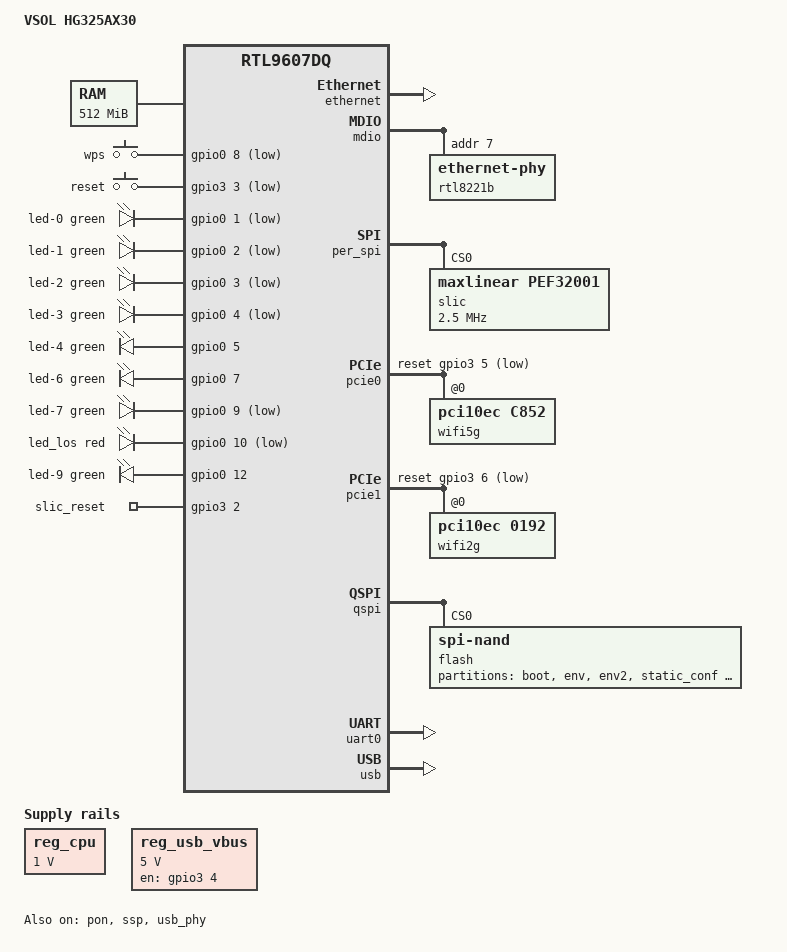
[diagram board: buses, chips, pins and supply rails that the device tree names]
// SPDX-License-Identifier: GPL-2.0-or-later OR MIT

/dts-v1/;

#include <dt-bindings/input/input.h>
#include <dt-bindings/leds/common.h>
#include <dt-bindings/thermal/thermal.h>

#include "rtl9607dq.dtsi"

/ {
	model = "VSOL HG325AX30";
	compatible = "vsol,hg325ax30", "realtek,rtl9607dq", "realtek,taurus";

	thermal-zones {
		/* passive: the vendor driver's TX throttle point, thermal code 0x33 */
		wifi5g-thermal {
			polling-delay-passive = <2000>;
			polling-delay = <10000>;
			thermal-sensors = <&wifi5g>;

			trips {
				wifi5g_passive: wifi5g-passive {
					temperature = <93000>;
					hysteresis = <7500>;
					type = "passive";
				};

				wifi5g-crit {
					temperature = <120000>;
					hysteresis = <2000>;
					type = "critical";
				};
			};

			cooling-maps {
				map0 {
					trip = <&wifi5g_passive>;
					cooling-device = <&wifi5g THERMAL_NO_LIMIT THERMAL_NO_LIMIT>;
				};
			};
		};

		wifi2g-thermal {
			polling-delay-passive = <2000>;
			polling-delay = <10000>;
			thermal-sensors = <&wifi2g>;

			trips {
				wifi2g_passive: wifi2g-passive {
					temperature = <107000>;
					hysteresis = <5000>;
					type = "passive";
				};

				wifi2g-crit {
					temperature = <120000>;
					hysteresis = <2000>;
					type = "critical";
				};
			};

			cooling-maps {
				map0 {
					trip = <&wifi2g_passive>;
					cooling-device = <&wifi2g THERMAL_NO_LIMIT THERMAL_NO_LIMIT>;
				};
			};
		};
	};

	aliases {
		serial0 = &uart0;
		led-failsafe = &led_los;
		led-upgrade = &led_los;
		label-mac-device = &ethernet;
	};

	chosen {
		stdout-path = "serial0:115200n8";
		/*
		 * The vendor U-Boot passes the stock root=31:8 (gluebi); the
		 * rootfs is the "rootfs" UBI volume, found by the ubiblock code.
		 */
		bootargs-override = "earlycon console=ttyS0,115200 ubi.mtd=ubi_device";
	};

	memory@0 {
		device_type = "memory";
		reg = <0x0 0x0 0x0 0x20000000>;
	};

	keys {
		compatible = "gpio-keys-polled";
		poll-interval = <20>;

		button-wps {
			label = "wps";
			linux,code = <KEY_WPS_BUTTON>;
			gpios = <&gpio0 8 GPIO_ACTIVE_LOW>;
		};

		button-restart {
			label = "reset";
			linux,code = <KEY_RESTART>;
			gpios = <&gpio3 3 GPIO_ACTIVE_LOW>;
		};
	};

	leds {
		compatible = "gpio-leds";

		led-0 {
			color = <LED_COLOR_ID_GREEN>;
			function = LED_FUNCTION_LAN;
			function-enumerator = <3>;
			gpios = <&gpio0 1 GPIO_ACTIVE_LOW>;
		};

		led-1 {
			color = <LED_COLOR_ID_GREEN>;
			function = LED_FUNCTION_WAN_ONLINE;
			gpios = <&gpio0 2 GPIO_ACTIVE_LOW>;
		};

		led-2 {
			color = <LED_COLOR_ID_GREEN>;
			function = LED_FUNCTION_LAN;
			function-enumerator = <2>;
			gpios = <&gpio0 3 GPIO_ACTIVE_LOW>;
		};

		led-3 {
			color = <LED_COLOR_ID_GREEN>;
			function = LED_FUNCTION_LAN;
			function-enumerator = <1>;
			gpios = <&gpio0 4 GPIO_ACTIVE_LOW>;
		};

		led-4 {
			color = <LED_COLOR_ID_GREEN>;
			function = LED_FUNCTION_WPS;
			gpios = <&gpio0 5 GPIO_ACTIVE_HIGH>;
		};

		led-6 {
			color = <LED_COLOR_ID_GREEN>;
			function = LED_FUNCTION_USB;
			gpios = <&gpio0 7 GPIO_ACTIVE_HIGH>;
		};

		led-7 {
			color = <LED_COLOR_ID_GREEN>;
			function = LED_FUNCTION_WAN;
			gpios = <&gpio0 9 GPIO_ACTIVE_LOW>;
			linux,default-trigger = "gpon-link";
		};

		led_los: led-8 {
			color = <LED_COLOR_ID_RED>;
			function = LED_FUNCTION_STATUS;
			gpios = <&gpio0 10 GPIO_ACTIVE_LOW>;
			default-state = "on";
			linux,default-trigger = "gpon-los";
		};

		led-9 {
			color = <LED_COLOR_ID_GREEN>;
			function = "tel";
			gpios = <&gpio0 12 GPIO_ACTIVE_HIGH>;
		};
	};

	reg_cpu: regulator-cpu {
		compatible = "regulator-fixed";
		regulator-name = "vdd_cpu";
		regulator-min-microvolt = <1000000>;
		regulator-max-microvolt = <1000000>;
		regulator-boot-on;
		regulator-always-on;
	};

	reg_usb_vbus: regulator-usb-vbus {
		compatible = "regulator-fixed";
		regulator-name = "usb_vbus";
		regulator-min-microvolt = <5000000>;
		regulator-max-microvolt = <5000000>;
		gpios = <&gpio3 4 GPIO_ACTIVE_HIGH>;
		enable-active-high;
	};

	gpio-export {
		compatible = "gpio-export";

		slic-reset {
			gpio-export,name = "slic_reset";
			gpio-export,output = <1>;
			gpios = <&gpio3 2 GPIO_ACTIVE_HIGH>;
		};
	};

	slic_pcm: slic-pcm {
		compatible = "linux,bt-sco";
		#sound-dai-cells = <0>;
	};

	sound {
		compatible = "simple-audio-card";
		simple-audio-card,name = "HG325AX30-FXS";
		simple-audio-card,format = "dsp_a";
		simple-audio-card,bitclock-master = <&cpu_dai>;
		simple-audio-card,frame-master = <&cpu_dai>;

		cpu_dai: simple-audio-card,cpu {
			sound-dai = <&ssp>;
		};

		simple-audio-card,codec {
			sound-dai = <&slic_pcm>;
		};
	};
};

&cpu0 {
	cpu-supply = <&reg_cpu>;
};

&cpu1 {
	cpu-supply = <&reg_cpu>;
};

&cpu2 {
	cpu-supply = <&reg_cpu>;
};

&cpu3 {
	cpu-supply = <&reg_cpu>;
};

&ethernet {
	nvmem-cells = <&macaddr_lan 0>;
	nvmem-cell-names = "mac-address";
	status = "okay";
};

&mdio {
	rtl8221b: ethernet-phy@7 {
		reg = <7>;

		leds {
			#address-cells = <1>;
			#size-cells = <0>;

			/* the one LED of the lan4 jack */
			led@0 {
				reg = <0>;
				color = <LED_COLOR_ID_GREEN>;
				function = LED_FUNCTION_LAN;
				function-enumerator = <4>;
				default-state = "keep";
			};
		};
	};
};

&port0 {
	label = "lan1";
	status = "okay";
};

&port1 {
	label = "lan2";
	status = "okay";
};

&port2 {
	label = "lan3";
	status = "okay";
};

&port4 {
	label = "lan4";
	phy-mode = "2500base-x";
	phy-handle = <&rtl8221b>;
	status = "okay";
};

&gpio3 {
	gpio-line-names = "", "", "slic_reset", "", "", "", "", "", "",
			  "", "", "", "", "", "", "", "", "", "",
			  "", "", "", "", "", "";
};

&per_spi {
	status = "okay";

	slic@0 {
		compatible = "maxlinear,pef32001";
		reg = <0>;
		spi-max-frequency = <2500000>;
		spi-cpol;
		spi-cpha;
	};
};

&pon {
	nvmem-cells = <&macaddr_lan 9>, <&bosa_cal>;
	nvmem-cell-names = "mac-address", "calibration";
	tx-disable-gpios = <&gpio3 1 GPIO_ACTIVE_HIGH>;
	tx-power-gpios = <&gpio3 0 GPIO_ACTIVE_LOW>;
	status = "okay";
};

&pcie0 {
	reset-gpios = <&gpio3 5 GPIO_ACTIVE_LOW>;
	status = "okay";

	pcie@0,0 {
		reg = <0x0000 0 0 0 0>;
		#address-cells = <3>;
		#size-cells = <2>;
		device_type = "pci";
		ranges;

		wifi5g: wifi@0,0 {
			compatible = "pci10ec,c852";
			reg = <0x0000 0 0 0 0>;
			#cooling-cells = <2>;
			#thermal-sensor-cells = <0>;
			nvmem-cells = <&macaddr_lan 5>;
			nvmem-cell-names = "mac-address";
			ieee80211-freq-limit = <5170000 5835000>;
			realtek,rfe-type = <54>;
			realtek,xtal-cap = <63>;
		};
	};
};

&pcie1 {
	reset-gpios = <&gpio3 6 GPIO_ACTIVE_LOW>;
	status = "okay";

	pcie@0,0 {
		reg = <0x0000 0 0 0 0>;
		#address-cells = <3>;
		#size-cells = <2>;
		device_type = "pci";
		ranges;

		wifi2g: wifi@0,0 {
			compatible = "pci10ec,0192";
			reg = <0x0000 0 0 0 0>;
			#cooling-cells = <2>;
			#thermal-sensor-cells = <0>;
			nvmem-cells = <&macaddr_lan 1>;
			nvmem-cell-names = "mac-address";
			realtek,rfe-type = <54>;
			realtek,xtal-cap = <63>;
		};
	};
};

&qspi {
	status = "okay";

	flash@0 {
		compatible = "spi-nand";
		reg = <0>;
		spi-tx-bus-width = <1>;
		spi-rx-bus-width = <2>;

		partitions {
			compatible = "fixed-partitions";
			#address-cells = <1>;
			#size-cells = <1>;

			partition@0 {
				label = "boot";
				reg = <0x0 0x200000>;
				read-only;
			};

			partition@280000 {
				label = "env";
				reg = <0x280000 0x40000>;
			};

			partition@2c0000 {
				label = "env2";
				reg = <0x2c0000 0x40000>;
			};

			partition@300000 {
				label = "static_conf";
				reg = <0x300000 0x40000>;
				read-only;

				nvmem-layout {
					compatible = "fixed-layout";
					#address-cells = <1>;
					#size-cells = <1>;

					macaddr_lan: macaddr@8 {
						compatible = "mac-base";
						reg = <0x8 0x6>;
						#nvmem-cell-cells = <1>;
					};

					bosa_cal: calibration@100 {
						reg = <0x100 0x400>;
					};
				};
			};

			partition@340000 {
				label = "ubi_device";
				reg = <0x340000 0x7c00000>;
			};
		};
	};
};

&ssp {
	status = "okay";
};

&uart0 {
	status = "okay";
};

&usb {
	status = "okay";
};

&usb_phy {
	vbus-supply = <&reg_usb_vbus>;
	status = "okay";
};
